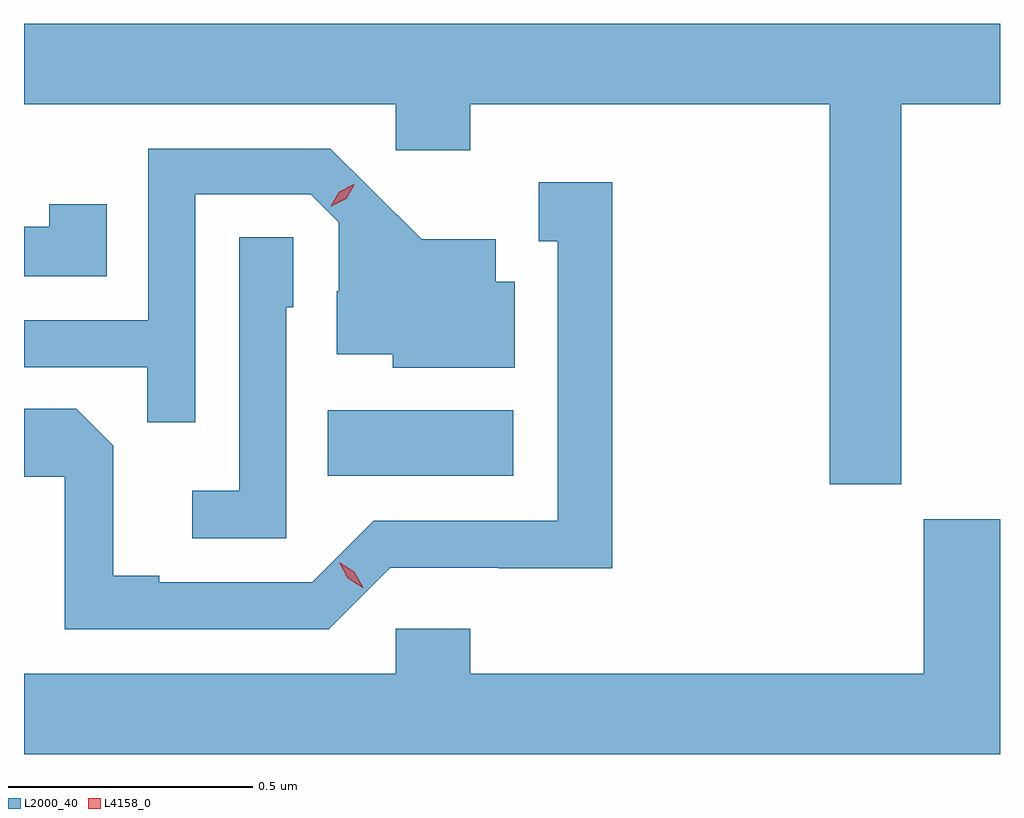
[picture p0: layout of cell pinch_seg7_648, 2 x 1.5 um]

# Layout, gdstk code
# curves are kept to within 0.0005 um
import gdstk
lib = gdstk.Library(unit=1e-6, precision=1e-09)
def R(c, l, rs):  # rectangles x0, y0, x1, y1
    for r in rs: c.add(gdstk.rectangle(r[:2], r[2:], *l))
def P(c, l, *ps):  # polygons
    for p in ps: c.add(gdstk.Polygon(p, *l))
L2000_40 = (2000, 40)
L4158_0 = (4158, 0)

pinch_seg7_648 = lib.new_cell('pinch_seg7_648')
R(pinch_seg7_648, L2000_40, [(174.886,1030.49,175.267,1030.624)])
P(pinch_seg7_648, L2000_40, [(176.062,1031.252),(176.264,1031.252),(176.264,1031.416),(174.264,1031.416),(174.264,1031.252),(175.026,1031.252),(175.026,1031.157),(175.178,1031.157),(175.178,1031.252),(175.915,1031.252),(175.915,1030.473),(176.062,1030.473)],
  [(174.615,1031.067),(174.852,1031.067),(174.909,1031.01),(174.909,1030.868),(174.905,1030.868),(174.905,1030.739),(175.02,1030.739),(175.02,1030.712),(175.27,1030.712),(175.27,1030.888),(175.231,1030.888),(175.231,1030.975),(175.079,1030.975),(174.892,1031.16),(174.519,1031.16),(174.519,1030.809),(174.264,1030.809),(174.264,1030.713),(174.517,1030.713),(174.517,1030.6),(174.615,1030.6)],
  [(175.014,1030.302),(175.236,1030.302),(175.236,1030.301),(175.469,1030.301),(175.469,1031.092),(175.319,1031.092),(175.319,1030.971),(175.358,1030.971),(175.358,1030.398),(174.981,1030.398),(174.855,1030.272),(174.541,1030.272),(174.541,1030.285),(174.447,1030.285),(174.447,1030.552),(174.371,1030.628),(174.264,1030.628),(174.264,1030.488),(174.348,1030.488),(174.348,1030.176),(174.888,1030.176)],
  [(174.434,1031.047),(174.316,1031.047),(174.316,1031),(174.264,1031),(174.264,1030.899),(174.434,1030.899)],
  [(174.801,1030.836),(174.816,1030.836),(174.816,1030.979),(174.705,1030.979),(174.705,1030.459),(174.609,1030.459),(174.609,1030.362),(174.801,1030.362)],
  [(176.264,1030.401),(176.108,1030.401),(176.108,1030.084),(175.178,1030.084),(175.178,1030.177),(175.026,1030.177),(175.026,1030.084),(174.264,1030.084),(174.264,1029.92),(176.264,1029.92)])
P(pinch_seg7_648, L4158_0, [(174.958,1030.261),(174.927,1030.28),(174.91,1030.313),(174.91,1030.313),(174.91,1030.313),(174.941,1030.294),(174.959,1030.261),(174.959,1030.261)],
  [(174.893,1031.042),(174.893,1031.042),(174.91,1031.072),(174.94,1031.088),(174.941,1031.088),(174.941,1031.087),(174.924,1031.058),(174.894,1031.042)])

lib.write_gds('pinch_seg7_648.gds')
